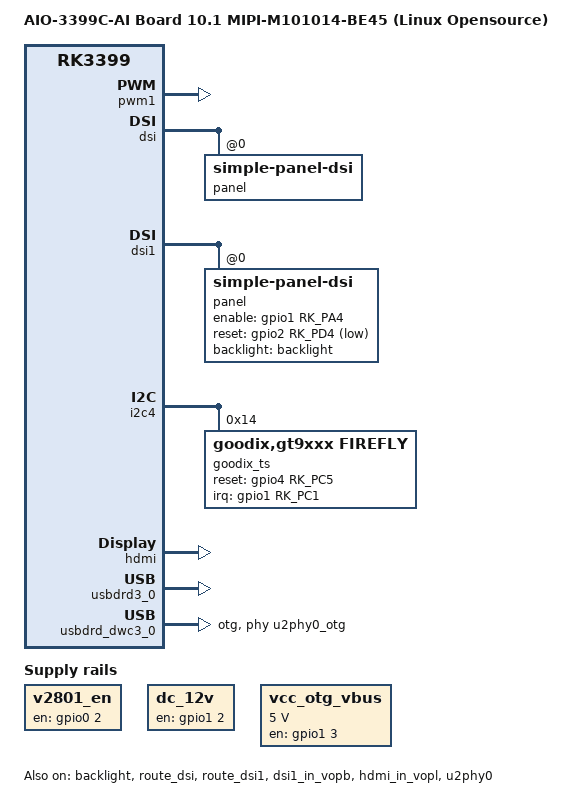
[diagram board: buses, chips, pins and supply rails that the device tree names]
/*
 * Copyright (c) 2016 Fuzhou Rockchip Electronics Co., Ltd
 *
 * This file is dual-licensed: you can use it either under the terms
 * of the GPL or the X11 license, at your option. Note that this dual
 * licensing only applies to this file, and not this project as a
 * whole.
 *
 *  a) This file is free software; you can redistribute it and/or
 *     modify it under the terms of the GNU General Public License as
 *     published by the Free Software Foundation; either version 2 of the
 *     License, or (at your option) any later version.
 *
 *     This file is distributed in the hope that it will be useful,
 *     but WITHOUT ANY WARRANTY; without even the implied warranty of
 *     MERCHANTABILITY or FITNESS FOR A PARTICULAR PURPOSE.  See the
 *     GNU General Public License for more details.
 *
 * Or, alternatively,
 *     restriction, including without limitation the rights to use,
 *     copy, modify, merge, publish, distribute, sublicense, and/or
 *     sell copies of the Software, and to permit persons to whom the
 *     Software is furnished to do so, subject to the following
 *     conditions:
 *
 *     The above copyright notice and this permission notice shall be
 *     included in all copies or substantial portions of the Software.
 *
 *     THE SOFTWARE IS PROVIDED "AS IS", WITHOUT WARRANTY OF ANY KIND,
 *     EXPRESS OR IMPLIED, INCLUDING BUT NOT LIMITED TO THE WARRANTIES
 *     OF MERCHANTABILITY, FITNESS FOR A PARTICULAR PURPOSE AND
 *     NONINFRINGEMENT. IN NO EVENT SHALL THE AUTHORS OR COPYRIGHT
 *     HOLDERS BE LIABLE FOR ANY CLAIM, DAMAGES OR OTHER LIABILITY,
 *     WHETHER IN AN ACTION OF CONTRACT, TORT OR OTHERWISE, ARISING
 *     FROM, OUT OF OR IN CONNECTION WITH THE SOFTWARE OR THE USE OR
 *     OTHER DEALINGS IN THE SOFTWARE.
 */

/dts-v1/;

#include "rk3399-firefly-aioc.dtsi"
#include <dt-bindings/display/media-bus-format.h>

/ {
	model = "AIO-3399C-AI Board 10.1 MIPI-M101014-BE45 (Linux Opensource)";
	compatible = "rockchip,rk3399-firefly", "rockchip,rk3399";

	v2801_en: v2801-en {
		compatible = "regulator-fixed";
		enable-active-high;
		gpio = <&gpio0 2 GPIO_ACTIVE_HIGH>;
		pinctrl-names = "default";
		pinctrl-0 = <&v2801_en_h>;
		regulator-name = "v2801_en";
		regulator-always-on;
	};

	dc_12v: dc-12v {
		compatible = "regulator-fixed";
		enable-active-high;
		gpio = <&gpio1 2 GPIO_ACTIVE_HIGH>;
		pinctrl-names = "default";
		pinctrl-0 = <&dc_ctl_h>;
		regulator-name = "dc_ctl";
		regulator-always-on;
	};

	vcc_otg_vbus: otg-vbus-regulator {
		compatible = "regulator-fixed";
		gpio = <&gpio1 3 GPIO_ACTIVE_HIGH>;
		pinctrl-names = "default";
		pinctrl-0 = <&otg_vbus_drv>;
		regulator-name = "vcc_otg_vbus";
		regulator-min-microvolt = <5000000>;
		regulator-max-microvolt = <5000000>;
		enable-active-high;
	};
};

&pwm1 {
	status = "okay";
};

&backlight {
	status = "okay";
	pwms = <&pwm1 0 50000 1>;
	enable-gpios = <&gpio1 1 GPIO_ACTIVE_HIGH>;
	brightness-levels = <
		 60  60  60  61  61  61  62  62
		 62  63  63  63  64  64  64  65
		 65  65  66  66  66  67  67  67
		 68  68  68  69  69  69  70  70
		 70  71  71  71  72  72  72  73
		 73  73  74  74  74  75  75  75
		 76  76  76  77  77  77  78  78
		 78  79  79  79  80  80  80  81
		 81  81  82  82  82  83  83  83
		 84  84  84  85  85  85  86  86
		 86  87  87  87  88  88  88  89
		 89  89  90  91  92  93  94  95
		 96  97  98  99 100 101 102 103
		104 105 106 107 108 109 110 111
		112 113 114 115 116 117 118 119
		120 121 122 123 124 125 126 127
		128 129 130 131 132 133 134 135
		136 137 138 139 140 141 142 143
		144 145 146 147 148 149 150 151
		152 153 154 155 156 157 158 159
		160 161 162 163 164 165 166 167
		168 169 170 171 172 173 174 175
		176 177 178 179 180 181 182 183
		184 185 186 187 188 189 190 191
		192 193 194 195 196 197 198 199
		200 201 202 203 204 205 206 207
		208 209 210 211 212 213 214 215
		216 217 218 219 220 221 222 223
		224 225 226 227 228 229 230 231
		232 233 234 235 236 237 238 239
		240 241 242 243 244 245 246 247
		248 249 250 251 252 253 254 255
	>;
	default-brightness-level = <200>;
};

&dsi {
	status = "okay";
	firefly,dsi1-only;

	panel@0 {
		compatible = "simple-panel-dsi";
		reg = <0>;
		dsi,flags = <(MIPI_DSI_MODE_VIDEO | MIPI_DSI_MODE_VIDEO_BURST | MIPI_DSI_MODE_LPM | MIPI_DSI_MODE_EOT_PACKET)>;
		dsi,format = <MIPI_DSI_FMT_RGB888>;
		bus-format = <MEDIA_BUS_FMT_RGB666_1X18>;
		dsi,lanes = <4>;

		status = "okay";

		display-timings {
			native-mode = <&timing0>;

			timing0: timing0 {
				clock-frequency = <72600000>;//<80000000>;
				hactive = <800>;//<768>;
				vactive = <1280>;
				hsync-len = <14>;   //20, 50,10
				hback-porch = <26>; //50, 56,10
				hfront-porch = <32>;//50, 30,180
				vsync-len = <8>;//4
				vback-porch = <20>;//4
				vfront-porch = <80>;//8
				hsync-active = <0>;
				vsync-active = <0>;
				de-active = <0>;
				pixelclk-active = <0>;
			};
		};
	};
};

&dsi1 {
	status = "okay";

	panel@0 {
		compatible = "simple-panel-dsi";
		reg = <0>;
		backlight = <&backlight>;
		//power-supply = <&vcc_lcd>;
		enable-gpios = <&gpio1 RK_PA4 GPIO_ACTIVE_HIGH>;
		reset-gpios = <&gpio2 RK_PD4 GPIO_ACTIVE_LOW>;
		dsi,flags = <(MIPI_DSI_MODE_VIDEO | MIPI_DSI_MODE_VIDEO_BURST | MIPI_DSI_MODE_LPM | MIPI_DSI_MODE_EOT_PACKET)>;
		dsi,format = <MIPI_DSI_FMT_RGB888>;
		bus-format = <MEDIA_BUS_FMT_RGB666_1X18>;
		dsi,lanes = <4>;

		enable-delay-ms = <35>;
		prepare-delay-ms = <6>;
		reset-delay-ms = <25>;
		init-delay-ms = <55>;
		unprepare-delay-ms = <0>;
		disable-delay-ms = <20>;
		size,width = <120>;
		size,height = <170>;

		status = "okay";

		//width-mm = <135>;
		//height-mm = <217>;

		panel-init-sequence = [
            //  ID
            // 39 00 04 FF 98 81 01
            // 99 00 02 00 98

            39 00 04 FF 98 81 03
            15 00 02 01 00
            15 00 02 02 00
            15 00 02 03 55
            15 00 02 04 55
            15 00 02 05 03 
            15 00 02 06 06 
            15 00 02 07 00 
            15 00 02 08 07 
            15 00 02 09 00 
            15 00 02 0a 00 
            15 00 02 0b 00 
            15 00 02 0c 00 
            15 00 02 0d 00 
            15 00 02 0e 00 
            15 00 02 0f 00 

            15 00 02 10 00 
            15 00 02 11 00 
            15 00 02 12 00
            15 00 02 13 00
            15 00 02 14 00
            15 00 02 15 00
            15 00 02 16 00
            15 00 02 17 00
            15 00 02 18 00
            15 00 02 19 00
            15 00 02 1a 00
            15 00 02 1b 00
            15 00 02 1c 00
            15 00 02 1d 00
            15 00 02 1e C0
            15 00 02 1f 80

            15 00 02 20 04
            15 00 02 21 03
            15 00 02 22 00
            15 00 02 23 00
            15 00 02 24 00
            15 00 02 25 00
            15 00 02 26 00
            15 00 02 27 00
            15 00 02 28 33
            15 00 02 29 33
            15 00 02 2a 00
            15 00 02 2b 00
            15 00 02 2c 00
            15 00 02 2d 00
            15 00 02 2e 00
            15 00 02 2f 00

            15 00 02 30 00
            15 00 02 31 00
            15 00 02 32 00
            15 00 02 33 00
            15 00 02 34 04
            15 00 02 35 00
            15 00 02 36 00
            15 00 02 37 00
            15 00 02 38 3C
            15 00 02 39 00
            15 00 02 3a 00
            15 00 02 3b 00
            15 00 02 3c 00
            15 00 02 3d 00
            15 00 02 3e 00
            15 00 02 3f 00

            15 00 02 40 00
            15 00 02 41 00
            15 00 02 42 00
            15 00 02 43 00
            15 00 02 44 00

            15 00 02 50 00
            15 00 02 51 11
            15 00 02 52 44
            15 00 02 53 55
            15 00 02 54 88
            15 00 02 55 AB
            15 00 02 56 00
            15 00 02 57 11
            15 00 02 58 22
            15 00 02 59 33
            15 00 02 5a 44
            15 00 02 5b 55
            15 00 02 5c 66
            15 00 02 5d 77
            15 00 02 5e 00
            15 00 02 5f 02

            15 00 02 60 02
            15 00 02 61 0A
            15 00 02 62 09
            15 00 02 63 08
            15 00 02 64 13
            15 00 02 65 12
            15 00 02 66 11
            15 00 02 67 10
            15 00 02 68 0F
            15 00 02 69 0E
            15 00 02 6a 0D
            15 00 02 6b 0C
            15 00 02 6c 06
            15 00 02 6d 07
            15 00 02 6e 02  
            15 00 02 6f 02

            15 00 02 70 02
            15 00 02 71 02
            15 00 02 72 02
            15 00 02 73 02 
            15 00 02 74 02
            15 00 02 75 02
            15 00 02 76 02  
            15 00 02 77 0A
            15 00 02 78 06
            15 00 02 79 07
            15 00 02 7a 10
            15 00 02 7b 11
            15 00 02 7c 12
            15 00 02 7d 13
            15 00 02 7e 0C
            15 00 02 7f 0D

            15 00 02 80 0E
            15 00 02 81 0F
            15 00 02 82 09
            15 00 02 83 08
            15 00 02 84 02
            15 00 02 85 02
            15 00 02 86 02
            15 00 02 87 02
            15 00 02 88 02
            15 00 02 89 02
            15 00 02 8A 02

            39 00 04 FF 98 81 04
            15 00 02 6E 2A
            15 00 02 6F 37
            15 00 02 3A 24
            15 00 02 8D 19
            15 00 02 87 BA
            15 00 02 B2 D1
            15 00 02 88 0B
            15 00 02 38 01
            15 00 02 39 00
            15 00 02 B5 02
            15 00 02 31 25
            15 00 02 3B 98
            39 00 04 FF 98 81 01

            15 00 02 22 0A
            15 00 02 31 0C
            15 00 02 53 40
            15 00 02 55 45
            15 00 02 50 B7
            15 00 02 51 B2
            15 00 02 60 07

            15 00 02 A0 22
            15 00 02 A1 3F
            15 00 02 A2 4E
            15 00 02 A3 17
            15 00 02 A4 1A
            15 00 02 A5 2D
            15 00 02 A6 21
            15 00 02 A7 22
            15 00 02 A8 C4
            15 00 02 A9 1B
            15 00 02 AA 25
            15 00 02 AB A7
            15 00 02 AC 1A
            15 00 02 AD 19
            15 00 02 AE 4B
            15 00 02 AF 1F

            15 00 02 B0 2A
            15 00 02 B1 59
            15 00 02 B2 64
            15 00 02 B3 3F

            15 00 02 C0 22
            15 00 02 C1 48
            15 00 02 C2 59
            15 00 02 C3 15
            15 00 02 C4 15
            15 00 02 C5 28
            15 00 02 C6 1C
            15 00 02 C7 1E
            15 00 02 C8 C4
            15 00 02 C9 1C
            15 00 02 CA 2B
            15 00 02 CB A3
            15 00 02 CC 1F
            15 00 02 CD 1E
            15 00 02 CE 52
            15 00 02 CF 24

            15 00 02 D0 2A
            15 00 02 D1 58
            15 00 02 D2 68
            15 00 02 D3 3F      
            39 00 04 FF 98 81 00
            05 78 01 11             //Delay 120ms
            05 14 01 29             //Delay 20ms
        ];

        panel-exit-sequence = [
            39 00 04 FF 98 81 00        //page0
            05 14 01 28                //Delay 20ms
            05 78 01 10                //Delay 120ms
        ];

		display-timings {
			native-mode = <&timing1>;

			timing1: timing1 {
				clock-frequency = <70000000>;//<80000000>;
                hactive = <800>;//<768>;
                vactive = <1280>;
                hsync-len = <20>;   //20, 50,10
                hback-porch = <20>; //50, 56,10
                hfront-porch = <40>;//50, 30,180
                vsync-len = <4>;//4
                vback-porch = <20>;//4
                vfront-porch = <20>;//8
                hsync-active = <0>;
                vsync-active = <0>;
                de-active = <0>;
                pixelclk-active = <0>;
			};
		};
	};
};

&i2c4 {
	status = "okay";

	//i2c-scl-rising-time-ns = <600>;
	//i2c-scl-falling-time-ns = <20>;

	hxchipset@48{
        status = "disabled";
        compatible = "himax,hxcommon";
        reg = <0x48>;

        himax,rst-gpio =  <&gpio4 RK_PC5 GPIO_ACTIVE_HIGH>;
        himax,irq-gpio = <&gpio1 RK_PC1 IRQ_TYPE_LEVEL_LOW>;
        //himax,3v3-gpio = <&gpio0 RK_PB4 GPIO_ACTIVE_HIGH>;
        //himax,pon-gpio = <&gpio0 RK_PB4 GPIO_ACTIVE_HIGH>;

        himax,panel-coords = <0 800 0 1280>;      //触摸范围
        himax,display-coords = <0 800 0 1280>;    //分辨率
        report_type = <1>;
    };

	goodix_ts@14 {
        status = "okay";
        compatible = "goodix,gt9xxx,firefly";
        reg = <0x14>;
        interrupt-parent = <&gpio1>;
        interrupts = <RK_PC1 IRQ_TYPE_LEVEL_LOW>;
        //goodix,pwr-gpio = <&pca9555 PCA_IO0_7 GPIO_ACTIVE_HIGH>;
        reset-gpios = <&gpio4 RK_PC5 GPIO_ACTIVE_HIGH>;
        irq-gpios = <&gpio1 RK_PC1 IRQ_TYPE_LEVEL_LOW>;
        irq-flags = <2>; /* 1 rising, 2 falling */
        //goodix,swap-x2y = <1>;
        touchscreen-size-x = <800>;
        touchscreen-size-y = <1280>;
        goodix,slide-wakeup = <0>;
        goodix,type-a-report = <1>;
        goodix,driver-send-cfg = <1>;
        goodix,resume-in-workqueue = <0>;
        goodix,int-sync = <1>;
        //goodix,swap-x2y = <0>;
        goodix,esd-protect = <1>;
        goodix,auto-update-cfg = <1>;
        goodix,auto-update = <0>;
        goodix,power-off-sleep = <0>;
        goodix,pen-suppress-finger = <0>;
        goodix,has-pen = <0>;

        goodix,cfg-group2 = [
            62 20 03 00 05 0A 35 00 01
            0A 28 0F 50 3C 03 05 00 00
            00 00 00 00 06 18 1A 1E 14
            90 30 AA 37 39 12 0C 00 00
            00 1A 02 2D 00 00 00 00 00
            00 00 00 07 00 00 28 4B 94
            D5 02 07 00 00 04 9A 2A 00
            8C 30 00 81 36 00 76 3E 00
            6E 46 00 6E 00 00 00 00 00
            00 00 00 00 00 00 00 00 00
            00 00 00 00 00 00 00 00 00
            00 00 00 00 00 02 00 00 00
            00 00 00 00 19 18 17 16 15
            14 11 10 0F 0E 0D 0C 09 08
            07 06 05 04 01 00 00 00 00
            00 00 00 00 00 00 00 14 13
            12 11 10 0F 0E 0D 0C 0A 08
            07 06 04 02 00 19 1B 1C 1E
            1F 20 21 22 23 24 25 26 27
            28 29 2A 00 00 00 00 00 00
            00 00 00 00 D8 01];
    };

	sensor@4c {
		status = "disabled";
		compatible = "gs_mc3230";
		reg = <0x4c>;
		type = <SENSOR_TYPE_ACCEL>;
		irq_enable = <0>;
		poll_delay_ms = <30>;
		layout = <2>;
	};

};

&route_hdmi {
	status = "disabled";
	connect = <&vopl_out_hdmi>;
};

&route_dsi {
	status = "okay";
};

&route_dsi1 {
	status = "okay";
	connect = <&vopb_out_dsi1>;
};

&dsi1_in_vopb {
	status = "okay";
};

&dsi1_in_vopl {
	status = "disabled";
};

&hdmi {
	status = "okay";
};

&hdmi_in_vopb {
	status = "disabled";
};

&hdmi_in_vopl {
	status = "okay";
};

&gmac {
	tx_delay = <0x2F>;
	rx_delay = <0x26>;
};

&pinctrl {
	pinctrl-names = "default";
	pinctrl-0 = <&host_hub_vcc>;

	sg {
		v2801_en_h: v2801-en-h {
			rockchip,pins =
				<0 2 RK_FUNC_GPIO &pcfg_pull_up>;
		};
	};

	dc {
		dc_ctl_h: dc-ctl-h {
			rockchip,pins =
				<1 2 RK_FUNC_GPIO &pcfg_pull_up>;
		};
	};

	vbus-usb {
		otg_vbus_drv: otg-vbus-drv {
			rockchip,pins = <1 3 RK_FUNC_GPIO &pcfg_pull_none>;
		};
	};

};

&fusb0 {
    status = "disabled";
};

&cdn_dp {
    status = "disabled";
};

&tcphy0 {
    /delete-property/ extcon;
    status = "disabled";
};

&u2phy0 {
    status = "okay";
    /delete-property/ extcon;
    u2phy0_otg: otg-port {
        vbus-supply = <&vcc_otg_vbus>; /*配置Vbus regulator属性 */
	status = "okay";
    };
};

&usbdrd3_0 {
    status = "okay";
    extcon = <&u2phy0>;
};

&usbdrd_dwc3_0 {
    dr_mode = "otg";
    phys = <&u2phy0_otg>;
    maximum-speed = "high-speed";
    phy-names = "usb2-phy";
};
